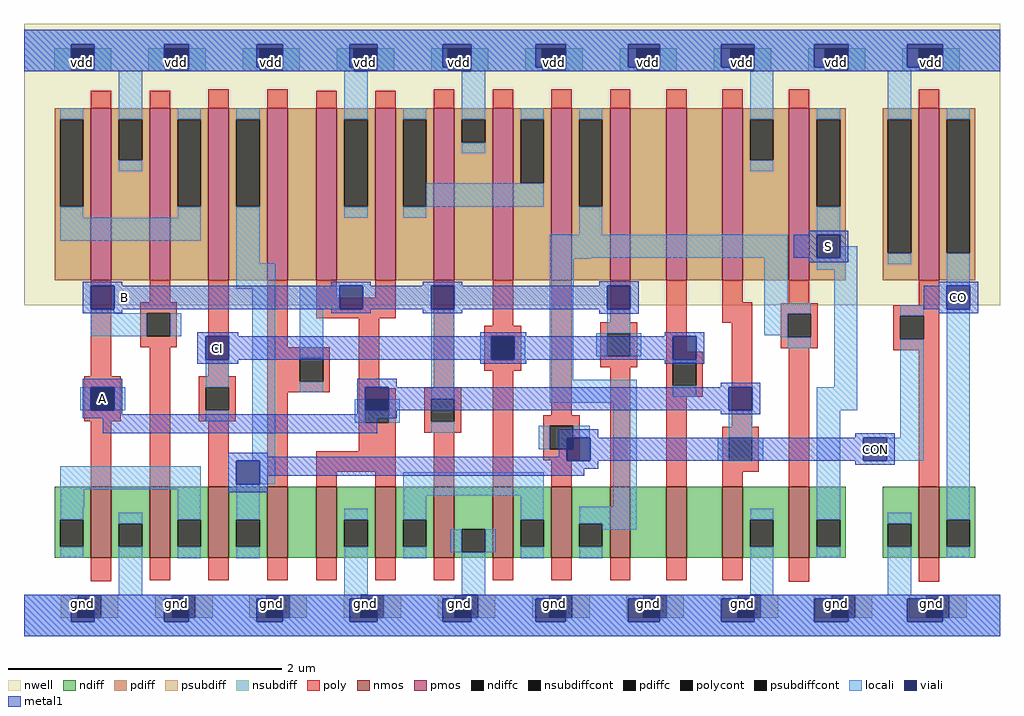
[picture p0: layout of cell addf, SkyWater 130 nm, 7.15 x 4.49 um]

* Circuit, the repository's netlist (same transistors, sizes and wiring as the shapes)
* NGSPICE file created from addf.ext - technology: sky130A

.subckt addf A B CI gnd S CO vdd
X0 a_952_521# CI a_870_521# vdd sky130_fd_pr__pfet_01v8 ad=0.164 pd=1.52 as=0.164 ps=1.52 w=1.26 l=0.15
X1 S a_784_115# vdd vdd sky130_fd_pr__pfet_01v8 ad=0.334 pd=3.05 as=0.214 ps=1.6 w=1.26 l=0.15
X2 a_526_115# CI gnd gnd sky130_fd_pr__nfet_01v8 ad=0.0728 pd=0.8 as=0.0728 ps=0.8 w=0.52 l=0.15
X3 a_27_521# B vdd vdd sky130_fd_pr__pfet_01v8 ad=0.176 pd=1.54 as=0.176 ps=1.54 w=1.26 l=0.15
X4 a_952_115# CI a_870_115# gnd sky130_fd_pr__nfet_01v8 ad=0.0676 pd=0.78 as=0.0676 ps=0.78 w=0.52 l=0.15
X5 S a_784_115# gnd gnd sky130_fd_pr__nfet_01v8 ad=0.138 pd=1.57 as=0.0884 ps=0.86 w=0.52 l=0.15
X6 vdd A a_27_521# vdd sky130_fd_pr__pfet_01v8 ad=0.176 pd=1.54 as=0.334 ps=3.05 w=1.26 l=0.15
X7 a_784_115# CON a_526_521# vdd sky130_fd_pr__pfet_01v8 ad=0.176 pd=1.54 as=0.176 ps=1.54 w=1.26 l=0.15
X8 a_27_115# B gnd gnd sky130_fd_pr__nfet_01v8 ad=0.0728 pd=0.8 as=0.0728 ps=0.8 w=0.52 l=0.15
X9 gnd A a_27_115# gnd sky130_fd_pr__nfet_01v8 ad=0.0728 pd=0.8 as=0.138 ps=1.57 w=0.52 l=0.15
X10 a_784_115# CON a_526_115# gnd sky130_fd_pr__nfet_01v8 ad=0.0728 pd=0.8 as=0.0728 ps=0.8 w=0.52 l=0.15
X11 CON CI a_27_521# vdd sky130_fd_pr__pfet_01v8 ad=0.176 pd=1.54 as=0.176 ps=1.54 w=1.26 l=0.15
X12 vdd A a_368_521# vdd sky130_fd_pr__pfet_01v8 ad=0.176 pd=1.54 as=0.132 ps=1.47 w=1.26 l=0.15
X13 a_526_521# A vdd vdd sky130_fd_pr__pfet_01v8 ad=0.176 pd=1.54 as=0.176 ps=1.54 w=1.26 l=0.15
X14 CO CON vdd vdd sky130_fd_pr__pfet_01v8 ad=0.334 pd=3.05 as=0.334 ps=3.05 w=1.26 l=0.15
X15 CON CI a_27_115# gnd sky130_fd_pr__nfet_01v8 ad=0.0728 pd=0.8 as=0.0728 ps=0.8 w=0.52 l=0.15
X16 a_870_521# B a_784_115# vdd sky130_fd_pr__pfet_01v8 ad=0.164 pd=1.52 as=0.176 ps=1.54 w=1.26 l=0.15
X17 gnd A a_368_115# gnd sky130_fd_pr__nfet_01v8 ad=0.0728 pd=0.8 as=0.0546 ps=0.73 w=0.52 l=0.15
X18 a_526_115# A gnd gnd sky130_fd_pr__nfet_01v8 ad=0.0728 pd=0.8 as=0.0728 ps=0.8 w=0.52 l=0.15
X19 CO CON gnd gnd sky130_fd_pr__nfet_01v8 ad=0.138 pd=1.57 as=0.138 ps=1.57 w=0.52 l=0.15
X20 a_870_115# B a_784_115# gnd sky130_fd_pr__nfet_01v8 ad=0.0676 pd=0.78 as=0.0728 ps=0.8 w=0.52 l=0.15
X21 a_368_521# B CON vdd sky130_fd_pr__pfet_01v8 ad=0.132 pd=1.47 as=0.176 ps=1.54 w=1.26 l=0.15
X22 vdd B a_526_521# vdd sky130_fd_pr__pfet_01v8 ad=0.176 pd=1.54 as=0.176 ps=1.54 w=1.26 l=0.15
X23 vdd A a_952_521# vdd sky130_fd_pr__pfet_01v8 ad=0.214 pd=1.6 as=0.164 ps=1.52 w=1.26 l=0.15
X24 a_368_115# B CON gnd sky130_fd_pr__nfet_01v8 ad=0.0546 pd=0.73 as=0.0728 ps=0.8 w=0.52 l=0.15
X25 gnd B a_526_115# gnd sky130_fd_pr__nfet_01v8 ad=0.0728 pd=0.8 as=0.0728 ps=0.8 w=0.52 l=0.15
X26 gnd A a_952_115# gnd sky130_fd_pr__nfet_01v8 ad=0.0884 pd=0.86 as=0.0676 ps=0.78 w=0.52 l=0.15
X27 a_526_521# CI vdd vdd sky130_fd_pr__pfet_01v8 ad=0.176 pd=1.54 as=0.176 ps=1.54 w=1.26 l=0.15
.ends

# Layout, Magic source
magic
tech sky130A
magscale 1 2
<< nwell >>
rect -18 485 1411 897
<< nmos >>
rect 80 115 110 219
rect 166 115 196 219
rect 252 115 282 219
rect 338 115 368 219
rect 410 115 440 219
rect 496 115 526 219
rect 582 115 612 219
rect 668 115 698 219
rect 754 115 784 219
rect 840 115 870 219
rect 922 115 952 219
rect 1004 115 1034 219
rect 1102 115 1132 219
rect 1292 115 1322 219
<< pmos >>
rect 80 521 110 773
rect 166 521 196 773
rect 252 521 282 773
rect 338 521 368 773
rect 410 521 440 773
rect 496 521 526 773
rect 582 521 612 773
rect 668 521 698 773
rect 754 521 784 773
rect 840 521 870 773
rect 922 521 952 773
rect 1004 521 1034 773
rect 1102 521 1132 773
rect 1292 521 1322 773
<< ndiff >>
rect 27 171 80 219
rect 27 131 35 171
rect 69 131 80 171
rect 27 115 80 131
rect 110 165 166 219
rect 110 131 121 165
rect 155 131 166 165
rect 110 115 166 131
rect 196 171 252 219
rect 196 131 207 171
rect 241 131 252 171
rect 196 115 252 131
rect 282 171 338 219
rect 282 131 293 171
rect 327 131 338 171
rect 282 115 338 131
rect 368 115 410 219
rect 440 171 496 219
rect 440 131 451 171
rect 485 131 496 171
rect 440 115 496 131
rect 526 171 582 219
rect 526 131 537 171
rect 571 131 582 171
rect 526 115 582 131
rect 612 157 668 219
rect 612 123 623 157
rect 657 123 668 157
rect 612 115 668 123
rect 698 171 754 219
rect 698 131 709 171
rect 743 131 754 171
rect 698 115 754 131
rect 784 165 840 219
rect 784 131 795 165
rect 829 131 840 165
rect 784 115 840 131
rect 870 115 922 219
rect 952 115 1004 219
rect 1034 171 1102 219
rect 1034 131 1045 171
rect 1079 131 1102 171
rect 1034 115 1102 131
rect 1132 171 1185 219
rect 1132 131 1143 171
rect 1177 131 1185 171
rect 1132 115 1185 131
rect 1239 165 1292 219
rect 1239 131 1247 165
rect 1281 131 1292 165
rect 1239 115 1292 131
rect 1322 171 1375 219
rect 1322 131 1333 171
rect 1367 131 1375 171
rect 1322 115 1375 131
<< pdiff >>
rect 27 757 80 773
rect 27 629 35 757
rect 69 629 80 757
rect 27 521 80 629
rect 110 757 166 773
rect 110 697 121 757
rect 155 697 166 757
rect 110 521 166 697
rect 196 757 252 773
rect 196 629 207 757
rect 241 629 252 757
rect 196 521 252 629
rect 282 757 338 773
rect 282 629 293 757
rect 327 629 338 757
rect 282 521 338 629
rect 368 521 410 773
rect 440 757 496 773
rect 440 629 451 757
rect 485 629 496 757
rect 440 521 496 629
rect 526 757 582 773
rect 526 629 537 757
rect 571 629 582 757
rect 526 521 582 629
rect 612 757 668 773
rect 612 723 623 757
rect 657 723 668 757
rect 612 521 668 723
rect 698 757 754 773
rect 698 663 709 757
rect 743 663 754 757
rect 698 521 754 663
rect 784 757 840 773
rect 784 629 795 757
rect 829 629 840 757
rect 784 521 840 629
rect 870 521 922 773
rect 952 521 1004 773
rect 1034 757 1102 773
rect 1034 697 1045 757
rect 1079 697 1102 757
rect 1034 521 1102 697
rect 1132 757 1185 773
rect 1132 629 1143 757
rect 1177 629 1185 757
rect 1132 521 1185 629
rect 1239 757 1292 773
rect 1239 561 1247 757
rect 1281 561 1292 757
rect 1239 521 1292 561
rect 1322 757 1375 773
rect 1322 561 1333 757
rect 1367 561 1375 757
rect 1322 521 1375 561
<< ndiffc >>
rect 35 131 69 171
rect 121 131 155 165
rect 207 131 241 171
rect 293 131 327 171
rect 451 131 485 171
rect 537 131 571 171
rect 623 123 657 157
rect 709 131 743 171
rect 795 131 829 165
rect 1045 131 1079 171
rect 1143 131 1177 171
rect 1247 131 1281 165
rect 1333 131 1367 171
<< pdiffc >>
rect 35 629 69 757
rect 121 697 155 757
rect 207 629 241 757
rect 293 629 327 757
rect 451 629 485 757
rect 537 629 571 757
rect 623 723 657 757
rect 709 663 743 757
rect 795 629 829 757
rect 1045 697 1079 757
rect 1143 629 1177 757
rect 1247 561 1281 757
rect 1333 561 1367 757
<< psubdiff >>
rect 36 27 61 61
rect 95 27 120 61
rect 174 27 199 61
rect 233 27 258 61
rect 312 27 337 61
rect 371 27 396 61
rect 450 27 475 61
rect 509 27 534 61
rect 588 27 613 61
rect 647 27 672 61
rect 726 27 751 61
rect 785 27 810 61
rect 864 27 889 61
rect 923 27 948 61
rect 1002 27 1027 61
rect 1061 27 1086 61
rect 1140 27 1165 61
rect 1199 27 1224 61
rect 1278 27 1303 61
rect 1337 27 1362 61
<< nsubdiff >>
rect 26 827 51 861
rect 85 827 110 861
rect 164 827 189 861
rect 223 827 248 861
rect 302 827 327 861
rect 361 827 386 861
rect 440 827 465 861
rect 499 827 524 861
rect 578 827 603 861
rect 637 827 662 861
rect 716 827 741 861
rect 775 827 800 861
rect 854 827 879 861
rect 913 827 938 861
rect 992 827 1017 861
rect 1051 827 1076 861
rect 1130 827 1155 861
rect 1189 827 1214 861
rect 1268 827 1293 861
rect 1327 827 1352 861
<< psubdiffcont >>
rect 61 27 95 61
rect 199 27 233 61
rect 337 27 371 61
rect 475 27 509 61
rect 613 27 647 61
rect 751 27 785 61
rect 889 27 923 61
rect 1027 27 1061 61
rect 1165 27 1199 61
rect 1303 27 1337 61
<< nsubdiffcont >>
rect 51 827 85 861
rect 189 827 223 861
rect 327 827 361 861
rect 465 827 499 861
rect 603 827 637 861
rect 741 827 775 861
rect 879 827 913 861
rect 1017 827 1051 861
rect 1155 827 1189 861
rect 1293 827 1327 861
<< poly >>
rect 80 773 110 799
rect 166 773 196 799
rect 252 773 282 801
rect 338 773 368 801
rect 410 773 440 799
rect 496 773 526 799
rect 582 773 612 801
rect 668 773 698 801
rect 754 773 784 801
rect 840 773 870 801
rect 922 773 952 801
rect 1004 773 1034 801
rect 1102 773 1132 801
rect 1292 773 1322 801
rect 80 381 110 521
rect 166 489 196 521
rect 152 473 206 489
rect 152 439 162 473
rect 196 439 206 473
rect 152 423 206 439
rect 70 365 124 381
rect 70 331 80 365
rect 114 331 124 365
rect 70 315 124 331
rect 80 219 110 315
rect 166 219 196 423
rect 252 381 282 521
rect 338 423 368 521
rect 410 496 440 521
rect 496 496 526 521
rect 410 466 526 496
rect 338 407 430 423
rect 238 365 292 381
rect 238 331 248 365
rect 282 331 292 365
rect 238 315 292 331
rect 338 373 386 407
rect 420 373 430 407
rect 338 357 430 373
rect 472 363 502 466
rect 582 364 612 521
rect 668 455 698 521
rect 656 439 710 455
rect 656 405 666 439
rect 700 405 710 439
rect 656 389 710 405
rect 252 219 282 315
rect 338 219 368 357
rect 472 347 526 363
rect 472 313 482 347
rect 516 313 526 347
rect 472 271 526 313
rect 568 348 622 364
rect 568 314 578 348
rect 612 314 622 348
rect 568 298 622 314
rect 410 241 526 271
rect 410 219 440 241
rect 496 219 526 241
rect 582 219 612 298
rect 668 219 698 389
rect 754 324 784 521
rect 840 460 870 521
rect 826 444 880 460
rect 826 410 836 444
rect 870 410 880 444
rect 826 394 880 410
rect 922 417 952 521
rect 1004 489 1034 521
rect 1004 459 1048 489
rect 1102 488 1132 521
rect 922 401 976 417
rect 742 308 796 324
rect 742 274 752 308
rect 786 274 796 308
rect 742 258 796 274
rect 754 219 784 258
rect 840 219 870 394
rect 922 367 932 401
rect 966 367 976 401
rect 922 351 976 367
rect 922 219 952 351
rect 1018 307 1048 459
rect 1090 472 1144 488
rect 1292 485 1322 521
rect 1090 438 1100 472
rect 1134 438 1144 472
rect 1090 422 1144 438
rect 1255 469 1322 485
rect 1255 435 1265 469
rect 1299 435 1322 469
rect 1004 291 1058 307
rect 1004 257 1014 291
rect 1048 257 1058 291
rect 1004 241 1058 257
rect 1004 219 1034 241
rect 1102 219 1132 422
rect 1255 419 1322 435
rect 1292 219 1322 419
rect 80 81 110 115
rect 166 82 196 115
rect 252 82 282 115
rect 338 82 368 115
rect 410 82 440 115
rect 496 82 526 115
rect 582 82 612 115
rect 668 82 698 115
rect 754 82 784 115
rect 840 82 870 115
rect 922 82 952 115
rect 1004 82 1034 115
rect 1102 80 1132 115
rect 1292 80 1322 115
<< polycont >>
rect 162 439 196 473
rect 80 331 114 365
rect 248 331 282 365
rect 386 373 420 407
rect 666 405 700 439
rect 482 313 516 347
rect 578 314 612 348
rect 836 410 870 444
rect 752 274 786 308
rect 932 367 966 401
rect 1100 438 1134 472
rect 1265 435 1299 469
rect 1014 257 1048 291
<< locali >>
rect -18 867 1411 888
rect -18 827 51 867
rect 85 833 187 867
rect 223 833 323 867
rect 361 833 459 867
rect 499 833 595 867
rect 637 833 731 867
rect 775 833 867 867
rect 913 833 1003 867
rect 1051 833 1139 867
rect 1189 833 1275 867
rect 85 827 189 833
rect 223 827 327 833
rect 361 827 465 833
rect 499 827 603 833
rect 637 827 741 833
rect 775 827 879 833
rect 913 827 1017 833
rect 1051 827 1155 833
rect 1189 827 1293 833
rect 1327 827 1411 867
rect 35 757 69 773
rect 121 757 155 827
rect 121 681 155 697
rect 207 757 241 773
rect 35 613 69 629
rect 207 613 241 629
rect 35 579 241 613
rect 293 757 327 773
rect 293 546 327 629
rect 451 757 485 827
rect 451 613 485 629
rect 537 757 571 773
rect 623 757 657 827
rect 623 707 657 723
rect 709 757 743 773
rect 571 629 743 663
rect 795 757 829 773
rect 1045 757 1079 827
rect 1045 681 1079 697
rect 1143 757 1177 773
rect 537 613 571 629
rect 795 588 829 629
rect 1143 588 1177 629
rect 752 554 1100 588
rect 752 553 812 554
rect 293 509 350 546
rect 80 473 114 479
rect 80 439 162 473
rect 196 439 212 473
rect 248 365 282 405
rect 64 331 80 365
rect 114 331 130 365
rect 248 315 282 331
rect 316 257 350 509
rect 386 479 444 513
rect 386 407 420 479
rect 386 357 420 373
rect 578 348 612 479
rect 752 510 787 553
rect 650 405 666 439
rect 700 405 716 439
rect 466 313 482 347
rect 516 313 532 347
rect 752 376 786 510
rect 836 444 870 479
rect 1066 488 1100 554
rect 1247 757 1281 827
rect 1177 554 1202 571
rect 1143 537 1202 554
rect 1247 545 1281 561
rect 1333 757 1367 773
rect 1066 472 1134 488
rect 820 410 836 444
rect 870 410 886 444
rect 1066 441 1100 472
rect 1089 438 1100 441
rect 1100 422 1134 438
rect 932 401 966 405
rect 752 342 879 376
rect 932 351 966 367
rect 1168 365 1202 537
rect 1333 513 1367 561
rect 578 298 612 314
rect 736 274 752 308
rect 786 291 810 308
rect 35 215 241 249
rect 35 189 70 215
rect 35 171 69 189
rect 35 115 69 131
rect 121 165 155 181
rect 121 61 155 131
rect 207 171 241 215
rect 207 114 241 131
rect 327 223 350 257
rect 293 171 327 223
rect 537 206 743 240
rect 293 114 327 131
rect 451 171 485 187
rect 451 61 485 131
rect 537 171 571 206
rect 709 171 743 206
rect 845 190 879 342
rect 1014 291 1048 331
rect 1143 331 1202 365
rect 1265 469 1299 485
rect 998 257 1014 291
rect 1048 257 1064 291
rect 1014 256 1048 257
rect 537 114 571 131
rect 607 123 623 157
rect 657 123 673 157
rect 623 61 657 123
rect 709 114 743 131
rect 795 165 879 190
rect 829 156 879 165
rect 1045 171 1079 187
rect 795 114 829 131
rect 1045 61 1079 131
rect 1143 171 1177 331
rect 1265 291 1299 435
rect 1245 257 1299 291
rect 1143 115 1177 131
rect 1247 165 1281 181
rect 1247 61 1281 131
rect 1333 171 1367 479
rect 1333 115 1367 131
rect -18 55 61 61
rect 95 55 199 61
rect 233 55 337 61
rect 371 55 475 61
rect 509 55 613 61
rect 647 55 751 61
rect 785 55 889 61
rect 923 55 1027 61
rect 1061 55 1165 61
rect 1199 55 1303 61
rect -18 21 51 55
rect 95 27 187 55
rect 233 27 323 55
rect 371 27 459 55
rect 509 27 595 55
rect 647 27 731 55
rect 785 27 867 55
rect 923 27 1003 55
rect 1061 27 1139 55
rect 1199 27 1275 55
rect 1337 27 1411 61
rect 85 21 187 27
rect 223 21 323 27
rect 361 21 459 27
rect 499 21 595 27
rect 637 21 731 27
rect 775 21 867 27
rect 913 21 1003 27
rect 1051 21 1139 27
rect 1189 21 1275 27
rect 1327 21 1411 27
rect -18 0 1411 21
<< viali >>
rect 51 861 85 867
rect 51 833 85 861
rect 187 861 223 867
rect 187 833 189 861
rect 189 833 223 861
rect 323 861 361 867
rect 323 833 327 861
rect 327 833 361 861
rect 459 861 499 867
rect 459 833 465 861
rect 465 833 499 861
rect 595 861 637 867
rect 595 833 603 861
rect 603 833 637 861
rect 731 861 775 867
rect 731 833 741 861
rect 741 833 775 861
rect 867 861 913 867
rect 867 833 879 861
rect 879 833 913 861
rect 1003 861 1051 867
rect 1003 833 1017 861
rect 1017 833 1051 861
rect 1139 861 1189 867
rect 1139 833 1155 861
rect 1155 833 1189 861
rect 1275 861 1327 867
rect 1275 833 1293 861
rect 1293 833 1327 861
rect 80 479 114 513
rect 248 405 282 439
rect 80 331 114 365
rect 444 479 478 513
rect 578 479 612 513
rect 482 347 516 365
rect 666 405 700 439
rect 482 331 516 347
rect 836 479 870 513
rect 1143 554 1177 588
rect 932 405 966 439
rect 777 274 786 291
rect 786 274 811 291
rect 777 257 811 274
rect 293 223 327 257
rect 1014 331 1048 365
rect 1211 257 1245 291
rect 1333 479 1367 513
rect 51 27 61 55
rect 61 27 85 55
rect 187 27 199 55
rect 199 27 223 55
rect 323 27 337 55
rect 337 27 361 55
rect 459 27 475 55
rect 475 27 499 55
rect 595 27 613 55
rect 613 27 637 55
rect 731 27 751 55
rect 751 27 775 55
rect 867 27 889 55
rect 889 27 913 55
rect 1003 27 1027 55
rect 1027 27 1051 55
rect 1139 27 1165 55
rect 1165 27 1189 55
rect 1275 27 1303 55
rect 1303 27 1327 55
rect 51 21 85 27
rect 187 21 223 27
rect 323 21 361 27
rect 459 21 499 27
rect 595 21 637 27
rect 731 21 775 27
rect 867 21 913 27
rect 1003 21 1051 27
rect 1139 21 1189 27
rect 1275 21 1327 27
<< metal1 >>
rect -18 867 1411 888
rect -18 833 51 867
rect 85 833 187 867
rect 223 833 323 867
rect 361 833 459 867
rect 499 833 595 867
rect 637 833 731 867
rect 775 833 867 867
rect 913 833 1003 867
rect 1051 833 1139 867
rect 1189 833 1275 867
rect 1327 833 1411 867
rect -18 827 1411 833
rect 1131 588 1189 594
rect 1109 554 1143 588
rect 1177 554 1189 588
rect 1131 548 1189 554
rect 68 513 126 519
rect 432 513 490 519
rect 566 513 624 519
rect 824 513 882 520
rect 1321 513 1379 519
rect 68 479 80 513
rect 114 479 444 513
rect 478 479 578 513
rect 612 479 836 513
rect 870 479 882 513
rect 1299 479 1333 513
rect 1367 479 1379 513
rect 68 473 126 479
rect 432 473 490 479
rect 566 473 624 479
rect 824 472 882 479
rect 1321 473 1379 479
rect 236 439 296 445
rect 650 439 717 445
rect 920 439 978 445
rect 236 405 248 439
rect 282 405 666 439
rect 700 405 932 439
rect 966 405 978 439
rect 236 399 296 405
rect 650 399 717 405
rect 920 399 978 405
rect 68 365 126 377
rect 68 331 80 365
rect 114 331 126 365
rect 68 325 126 331
rect 470 365 528 377
rect 1002 365 1060 371
rect 470 331 482 365
rect 516 331 1014 365
rect 1048 331 1060 365
rect 470 325 528 331
rect 1002 325 1060 331
rect 68 319 528 325
rect 97 297 499 319
rect 765 291 823 303
rect 1199 291 1257 297
rect 281 263 339 269
rect 765 263 777 291
rect 281 257 777 263
rect 811 257 1211 291
rect 1245 257 1257 291
rect 281 223 293 257
rect 327 245 823 257
rect 1199 251 1257 257
rect 327 235 802 245
rect 327 223 339 235
rect 281 211 339 223
rect -18 55 1411 61
rect -18 21 51 55
rect 85 21 187 55
rect 223 21 323 55
rect 361 21 459 55
rect 499 21 595 55
rect 637 21 731 55
rect 775 21 867 55
rect 913 21 1003 55
rect 1051 21 1139 55
rect 1189 21 1275 55
rect 1327 21 1411 55
rect -18 0 1411 21
<< labels >>
rlabel viali 1160 571 1160 571 1 S
port 5 n
rlabel viali 1350 496 1350 496 1 CO
port 6 n
rlabel metal1 129 496 129 496 1 B
port 2 n
rlabel viali 265 422 265 422 1 CI
port 3 n
rlabel viali 97 348 97 348 1 A
port 1 n
rlabel viali 1228 274 1228 274 1 CON
rlabel viali 68 48 68 48 1 gnd
port 4 n
rlabel viali 68 840 68 840 1 vdd
port 7 n
rlabel viali 206 48 206 48 1 gnd
rlabel viali 344 48 344 48 1 gnd
rlabel viali 482 48 482 48 1 gnd
rlabel viali 620 48 620 48 1 gnd
rlabel viali 758 48 758 48 1 gnd
rlabel viali 896 48 896 48 1 gnd
rlabel viali 1034 48 1034 48 1 gnd
rlabel viali 1172 48 1172 48 1 gnd
rlabel viali 1310 48 1310 48 1 gnd
rlabel viali 206 840 206 840 1 vdd
rlabel viali 344 840 344 840 1 vdd
rlabel viali 482 840 482 840 1 vdd
rlabel viali 620 840 620 840 1 vdd
rlabel viali 758 840 758 840 1 vdd
rlabel viali 896 840 896 840 1 vdd
rlabel viali 1034 840 1034 840 1 vdd
rlabel viali 1172 840 1172 840 1 vdd
rlabel viali 1310 840 1310 840 1 vdd
<< end >>
